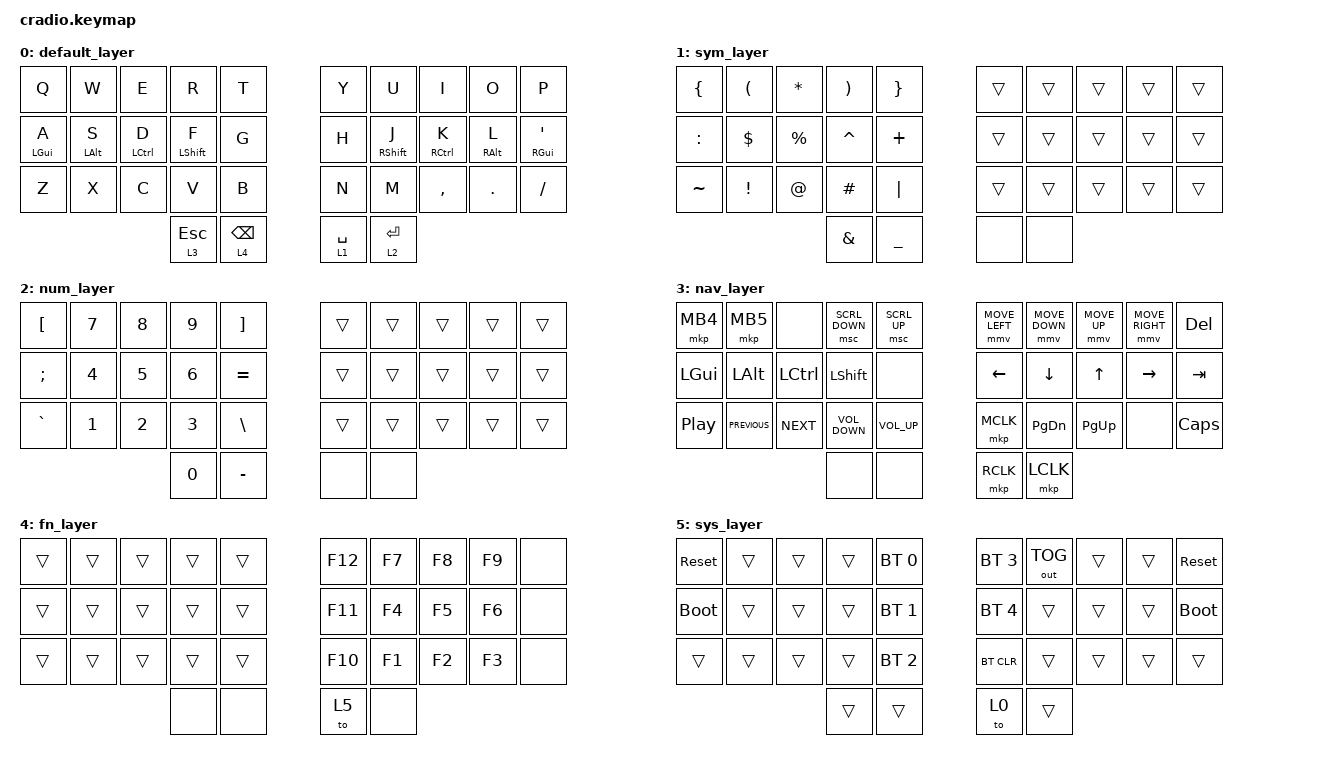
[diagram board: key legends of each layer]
/*
 * Copyright (c) 2020 The ZMK Contributors
 *
 * SPDX-License-Identifier: MIT
 */

#include <behaviors.dtsi>
#include "mouse.dtsi"
#include <dt-bindings/zmk/bt.h>
#include <dt-bindings/zmk/keys.h>
#include <dt-bindings/zmk/outputs.h>

// Layer definitions

#define BASE 0
#define SYM 1
#define EXT 2
#define FNC 3
#define SYM2 4
#define ACCENT 5
#define SETTINGS 6

// -----------------

/ {
    behaviors {
        hrm: hrm {
            compatible = "zmk,behavior-hold-tap";
            label = "HRM";
            bindings = <&kp>, <&kp>;

            #binding-cells = <2>;
            tapping-term-ms = <170>;
            quick-tap-ms = <300>;
            flavor = "tap-preferred";
            require-prior-idle-ms = <0>;
        };

        thumb: thumb {
            compatible = "zmk,behavior-hold-tap";
            flavor = "balanced";
            tapping-term-ms = <170>;
            quick-tap-ms = <300>; // enable repeat
            #binding-cells = <2>;
            bindings = <&mo>, <&kp>;
        };
    };

    keymap {
        compatible = "zmk,keymap";

        // Base alpha layer

        default_layer {
            bindings = <
&kp Q        &kp W        &kp E         &kp R            &kp T                 &kp Y           &kp U           &kp I         &kp O        &kp P
&hrm LGUI A  &hrm LALT S  &hrm LCTRL D  &hrm LSHFT F     &kp G                 &kp H           &hrm RSHFT J    &hrm RCTRL K  &hrm RALT L  &hrm RGUI SINGLE_QUOTE
&kp Z        &kp X        &kp C         &kp V            &kp B                 &kp N           &kp M           &kp COMMA     &kp DOT      &kp FSLH
                                        &thumb 3 ESCAPE  &thumb 4 BACKSPACE    &thumb 1 SPACE  &thumb 2 ENTER
            >;
        };

        sym_layer {
            bindings = <
&kp LEFT_BRACE  &kp LEFT_PARENTHESIS  &kp ASTERISK  &kp RIGHT_PARENTHESIS  &kp RIGHT_BRACE    &trans  &trans  &trans  &trans  &trans
&kp COLON       &kp DOLLAR            &kp PERCENT   &kp CARET              &kp PLUS           &trans  &trans  &trans  &trans  &trans
&kp TILDE       &kp EXCLAMATION       &kp AT_SIGN   &kp HASH               &kp PIPE           &trans  &trans  &trans  &trans  &trans
                                                    &kp AMPERSAND          &kp UNDERSCORE     &none   &none
            >;
        };

        num_layer {
            bindings = <
&kp LEFT_BRACKET  &kp NUMBER_7  &kp NUMBER_8  &kp NUMBER_9  &kp RIGHT_BRACKET    &trans  &trans  &trans  &trans  &trans
&kp SEMICOLON     &kp NUMBER_4  &kp NUMBER_5  &kp NUMBER_6  &kp EQUAL            &trans  &trans  &trans  &trans  &trans
&kp GRAVE         &kp NUMBER_1  &kp NUMBER_2  &kp NUMBER_3  &kp BACKSLASH        &trans  &trans  &trans  &trans  &trans
                                              &kp NUMBER_0  &kp MINUS            &none   &none
            >;
        };

        nav_layer {
            bindings = <
&mkp MB4          &mkp MB5        &none       &msc SCRL_DOWN     &msc SCRL_UP       &mmv MOVE_LEFT  &mmv MOVE_DOWN  &mmv MOVE_UP  &mmv MOVE_RIGHT  &kp DELETE
&kp LGUI          &kp LALT        &kp LCTRL   &kp LSHFT          &none              &kp LEFT_ARROW  &kp DOWN_ARROW  &kp UP_ARROW  &kp RIGHT_ARROW  &kp TAB
&kp C_PLAY_PAUSE  &kp C_PREVIOUS  &kp C_NEXT  &kp C_VOLUME_DOWN  &kp C_VOLUME_UP    &mkp MCLK       &kp PAGE_DOWN   &kp PAGE_UP   &none            &kp CAPSLOCK
                                              &none              &none              &mkp RCLK       &mkp LCLK
            >;
        };

        fn_layer {
            bindings = <
&trans  &trans  &trans  &trans  &trans    &kp F12  &kp F7  &kp F8  &kp F9  &none
&trans  &trans  &trans  &trans  &trans    &kp F11  &kp F4  &kp F5  &kp F6  &none
&trans  &trans  &trans  &trans  &trans    &kp F10  &kp F1  &kp F2  &kp F3  &none
                        &none   &none     &to 5    &none
            >;
        };

        sys_layer {
            bindings = <
&sys_reset   &trans  &trans  &trans  &bt BT_SEL 0    &bt BT_SEL 3  &out OUT_TOG &trans  &trans  &sys_reset
&bootloader  &trans  &trans  &trans  &bt BT_SEL 1    &bt BT_SEL 4  &trans       &trans  &trans  &bootloader
&trans       &trans  &trans  &trans  &bt BT_SEL 2    &bt BT_CLR    &trans       &trans  &trans  &trans
                             &trans  &trans          &to 0         &trans
            >;
        };

        // Numbers and high frequency symbols
        // Main modifiers and arrow keys
        // Function keys with modifiers
        // Low frequency symbols.
        // Used to type regional accents.
        // Used to change the keyboard's settings.sym_layer {};
    };
};
